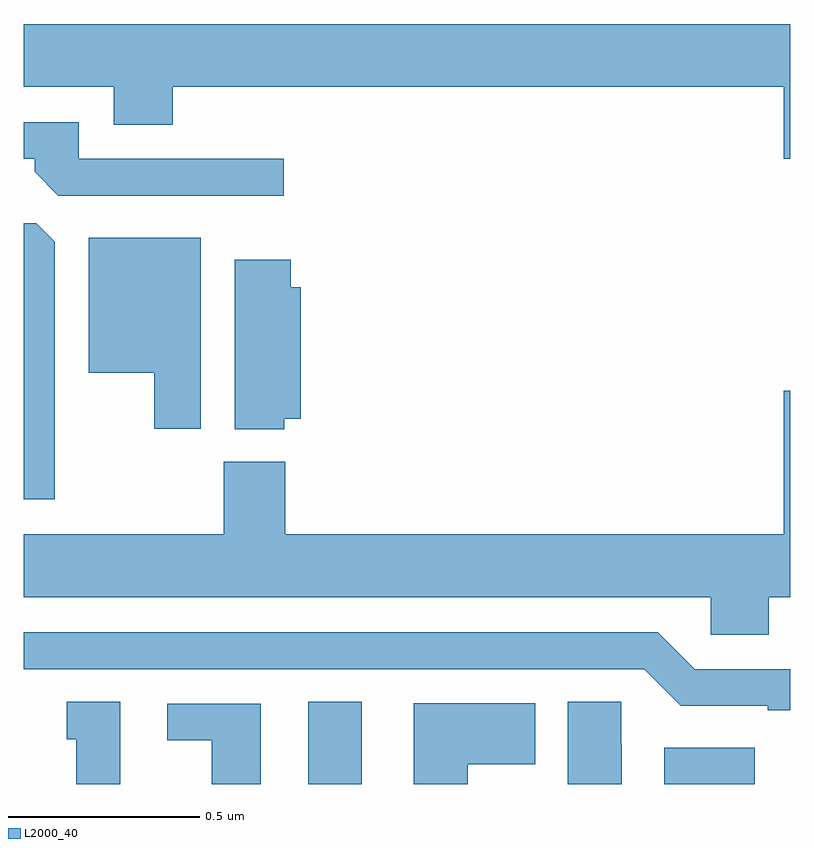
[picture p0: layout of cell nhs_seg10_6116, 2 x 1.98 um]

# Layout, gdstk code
import gdstk
lib = gdstk.Library(unit=1e-6, precision=1e-09)
def R(c, l, rs):  # rectangles x0, y0, x1, y1
    for r in rs: c.add(gdstk.rectangle(r[:2], r[2:], *l))
def P(c, l, *ps):  # polygons
    for p in ps: c.add(gdstk.Polygon(p, *l))
L2000_40 = (2000, 40)

nhs_seg10_6116 = lib.new_cell('nhs_seg10_6116')
R(nhs_seg10_6116, L2000_40, [(187.742,1294.5,187.882,1294.715), (188.672,1294.5,188.908,1294.594)])
P(nhs_seg10_6116, L2000_40, [(189,1296.484),(187,1296.484),(187,1296.32),(187.235,1296.32),(187.235,1296.221),(187.388,1296.221),(187.388,1296.32),(188.984,1296.32),(188.984,1296.132),(189,1296.132)],
  [(187.678,1296.132),(187.143,1296.132),(187.143,1296.228),(187,1296.228),(187,1296.132),(187.028,1296.132),(187.028,1296.098),(187.089,1296.036),(187.678,1296.036)],
  [(187.081,1295.915),(187.032,1295.964),(187,1295.964),(187,1295.243),(187.081,1295.243)],
  [(187.462,1295.926),(187.169,1295.926),(187.169,1295.573),(187.34,1295.573),(187.34,1295.427),(187.462,1295.427)],
  [(187.68,1295.453),(187.723,1295.453),(187.723,1295.797),(187.697,1295.797),(187.697,1295.869),(187.55,1295.869),(187.55,1295.426),(187.68,1295.426)],
  [(188.945,1294.988),(189,1294.988),(189,1295.527),(188.984,1295.527),(188.984,1295.152),(187.682,1295.152),(187.682,1295.341),(187.522,1295.341),(187.522,1295.152),(187,1295.152),(187,1294.988),(188.793,1294.988),(188.793,1294.89),(188.945,1294.89)],
  [(189,1294.8),(188.751,1294.8),(188.655,1294.896),(187,1294.896),(187,1294.8),(188.619,1294.8),(188.715,1294.704),(188.942,1294.704),(188.942,1294.692),(189,1294.692)],
  [(188.56,1294.604),(188.559,1294.604),(188.559,1294.715),(188.42,1294.715),(188.42,1294.5),(188.56,1294.5)],
  [(187.252,1294.715),(187.112,1294.715),(187.112,1294.617),(187.136,1294.617),(187.136,1294.5),(187.252,1294.5)],
  [(188.158,1294.552),(188.335,1294.552),(188.335,1294.711),(188.018,1294.711),(188.018,1294.5),(188.158,1294.5)],
  [(187.618,1294.71),(187.374,1294.71),(187.374,1294.614),(187.49,1294.614),(187.49,1294.5),(187.618,1294.5)])

lib.write_gds('nhs_seg10_6116.gds')
